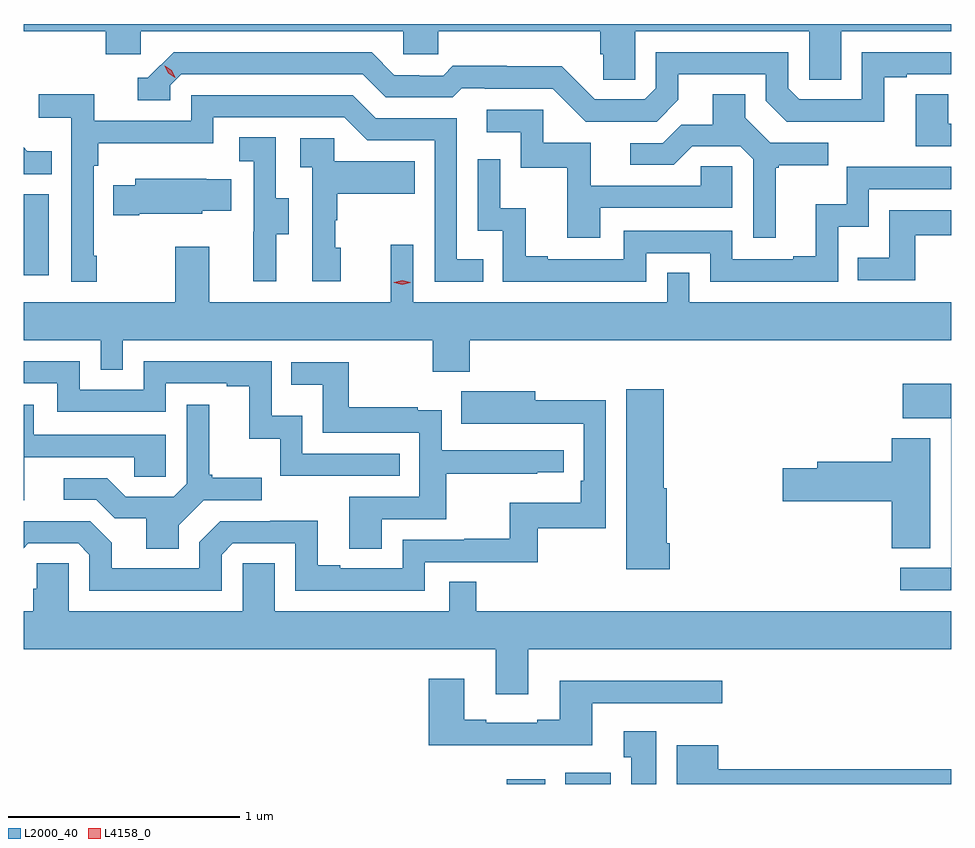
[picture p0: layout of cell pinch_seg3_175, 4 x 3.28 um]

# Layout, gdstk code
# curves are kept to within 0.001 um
import gdstk
lib = gdstk.Library(unit=1e-6, precision=1e-09)
def R(c, l, rs):  # rectangles x0, y0, x1, y1
    for r in rs: c.add(gdstk.rectangle(r[:2], r[2:], *l))
def P(c, l, *ps):  # polygons
    for p in ps: c.add(gdstk.Polygon(p, *l))
L2000_40 = (2000, 40)
L4158_0 = (4158, 0)

pinch_seg3_175 = lib.new_cell('pinch_seg3_175')
R(pinch_seg3_175, L2000_40, [(986.879,745.624,987.046,745.645), (987.131,745.624,987.328,745.672), (984.796,747.816,984.904,748.167)])
P(pinch_seg3_175, L2000_40, [(987.432,748.868),(988.182,748.868),(988.182,748.66),(988.321,748.66),(988.321,748.868),(988.796,748.868),(988.796,748.9),(984.796,748.9),(984.796,748.868),(985.151,748.868),(985.151,748.77),(985.302,748.77),(985.302,748.868),(986.433,748.868),(986.433,748.77),(986.583,748.77),(986.583,748.868),(987.281,748.868),(987.281,748.77),(987.295,748.77),(987.295,748.66),(987.432,748.66)],
  [(988.507,748.671),(988.603,748.671),(988.603,748.683),(988.796,748.683),(988.796,748.779),(988.41,748.779),(988.41,748.575),(988.14,748.575),(988.092,748.623),(988.092,748.779),(987.522,748.779),(987.522,748.623),(987.474,748.575),(987.258,748.575),(987.116,748.717),(986.88,748.717),(986.88,748.72),(986.647,748.72),(986.605,748.677),(986.502,748.677),(986.502,748.68),(986.395,748.68),(986.296,748.779),(985.443,748.779),(985.332,748.668),(985.289,748.668),(985.289,748.572),(985.428,748.572),(985.428,748.635),(985.476,748.683),(986.259,748.683),(986.358,748.584),(986.647,748.584),(986.686,748.623),(986.785,748.623),(986.785,748.62),(987.078,748.62),(987.219,748.479),(987.525,748.479),(987.619,748.573),(987.619,748.683),(987.996,748.683),(987.996,748.569),(988.086,748.479),(988.507,748.478)],
  [(988.796,748.47),(988.783,748.47),(988.783,748.598),(988.643,748.598),(988.643,748.374),(988.796,748.374)],
  [(988.039,748.281),(988.051,748.281),(988.051,748.292),(988.264,748.292),(988.264,748.389),(988.014,748.389),(987.907,748.496),(987.907,748.598),(987.767,748.598),(987.767,748.466),(987.632,748.466),(987.552,748.386),(987.411,748.386),(987.411,748.293),(987.598,748.293),(987.679,748.374),(987.885,748.374),(987.942,748.317),(987.942,747.978),(988.039,747.978)],
  [(985.111,747.901),(985.098,747.901),(985.098,748.289),(985.118,748.289),(985.118,748.385),(985.614,748.385),(985.614,748.497),(986.178,748.497),(986.277,748.398),(986.568,748.398),(986.568,747.789),(986.777,747.789),(986.777,747.885),(986.664,747.885),(986.664,748.494),(986.314,748.494),(986.215,748.593),(985.518,748.593),(985.518,748.482),(985.1,748.482),(985.1,748.598),(984.861,748.598),(984.861,748.496),(985.002,748.496),(985.002,747.789),(985.111,747.789)],
  [(987.283,748.107),(987.852,748.107),(987.852,748.287),(987.715,748.287),(987.715,748.203),(987.241,748.203),(987.241,748.389),(987.036,748.389),(987.036,748.53),(986.793,748.53),(986.793,748.434),(986.94,748.434),(986.94,748.281),(987.139,748.281),(987.139,747.978),(987.283,747.978)],
  [(985.885,747.994),(985.939,747.994),(985.939,748.149),(985.884,748.149),(985.884,748.412),(985.725,748.412),(985.725,748.309),(985.788,748.309),(985.788,748.005),(985.787,748.005),(985.787,747.792),(985.885,747.792)],
  [(986.164,747.936),(986.139,747.936),(986.139,748.055),(986.149,748.055),(986.149,748.169),(986.483,748.169),(986.483,748.309),(986.136,748.309),(986.136,748.407),(985.989,748.407),(985.989,748.283),(986.04,748.283),(986.04,747.792),(986.164,747.792)],
  [(984.917,748.351),(984.813,748.351),(984.796,748.368),(984.796,748.252),(984.917,748.252)],
  [(987.48,747.912),(987.756,747.912),(987.756,747.789),(988.308,747.789),(988.308,748.025),(988.44,748.025),(988.44,748.188),(988.796,748.188),(988.796,748.284),(988.344,748.284),(988.344,748.123),(988.211,748.123),(988.211,747.898),(988.115,747.898),(988.115,747.885),(987.852,747.885),(987.852,748.008),(987.384,748.008),(987.384,747.885),(987.055,747.885),(987.055,747.898),(986.96,747.898),(986.96,748.106),(986.85,748.106),(986.85,748.318),(986.754,748.318),(986.754,748.008),(986.862,748.008),(986.862,747.789),(987.48,747.789)],
  [(985.294,748.082),(985.566,748.082),(985.566,748.094),(985.691,748.094),(985.691,748.231),(985.583,748.231),(985.583,748.234),(985.277,748.234),(985.277,748.204),(985.183,748.204),(985.183,748.075),(985.294,748.075)],
  [(988.639,747.99),(988.796,747.99),(988.796,748.098),(988.528,748.098),(988.528,747.892),(988.393,747.892),(988.393,747.795),(988.639,747.795)],
  [(986.72,747.536),(988.796,747.536),(988.796,747.7),(987.666,747.7),(987.666,747.827),(987.57,747.827),(987.57,747.7),(986.475,747.7),(986.475,747.949),(986.378,747.949),(986.378,747.7),(985.597,747.7),(985.597,747.94),(985.45,747.94),(985.45,747.7),(984.796,747.7),(984.796,747.536),(985.128,747.536),(985.128,747.409),(985.224,747.409),(985.224,747.536),(986.56,747.536),(986.56,747.401),(986.72,747.401)],
  [(986.417,747.048),(985.998,747.048),(985.998,747.211),(985.866,747.211),(985.866,747.447),(985.314,747.447),(985.314,747.324),(985.038,747.324),(985.038,747.447),(984.796,747.447),(984.796,747.351),(984.942,747.351),(984.942,747.228),(985.41,747.228),(985.41,747.351),(985.673,747.351),(985.673,747.339),(985.769,747.339),(985.769,747.113),(985.902,747.113),(985.902,746.952),(986.417,746.952)],
  [(986.341,746.766),(986.618,746.766),(986.618,746.962),(987.011,746.962),(987.011,746.967),(987.124,746.967),(987.124,747.063),(986.598,747.063),(986.598,747.235),(986.495,747.235),(986.495,747.247),(986.197,747.247),(986.197,747.441),(985.951,747.441),(985.951,747.344),(986.086,747.344),(986.086,747.138),(986.502,747.138),(986.502,746.862),(986.201,746.862),(986.201,746.638),(986.341,746.638)],
  [(988.796,747.349),(988.587,747.349),(988.587,747.2),(988.794,747.2),(988.794,746.556),(988.575,746.556),(988.575,746.46),(988.796,746.46)],
  [(987.581,746.662),(987.568,746.662),(987.568,746.898),(987.556,746.898),(987.556,747.325),(987.395,747.325),(987.395,746.55),(987.581,746.55)],
  [(985.65,746.613),(985.698,746.661),(985.968,746.661),(985.968,746.457),(986.526,746.457),(986.526,746.58),(987.013,746.58),(987.013,746.727),(987.306,746.727),(987.306,747.278),(987.001,747.278),(987.001,747.316),(986.683,747.316),(986.683,747.176),(987.21,747.177),(987.21,746.932),(987.197,746.932),(987.197,746.836),(986.892,746.836),(986.892,746.681),(986.695,746.681),(986.695,746.676),(986.43,746.676),(986.43,746.553),(986.161,746.553),(986.161,746.566),(986.065,746.566),(986.065,746.759),(985.86,746.759),(985.86,746.757),(985.644,746.757),(985.554,746.667),(985.554,746.553),(985.177,746.553),(985.177,746.663),(985.083,746.757),(984.796,746.757),(984.796,746.641),(984.816,746.661),(985.032,746.661),(985.08,746.613),(985.08,746.457),(985.65,746.457)],
  [(984.799,747.033),(985.273,747.033),(985.273,746.949),(985.41,746.949),(985.41,747.129),(984.841,747.129),(984.841,747.259),(984.796,747.259),(984.796,746.847),(984.799,746.847)],
  [(985.465,746.74),(985.572,746.847),(985.822,746.847),(985.822,746.944),(985.609,746.944),(985.609,746.956),(985.597,746.956),(985.597,747.259),(985.5,747.259),(985.5,746.919),(985.443,746.862),(985.237,746.862),(985.156,746.943),(984.969,746.943),(984.969,746.85),(985.11,746.85),(985.19,746.77),(985.325,746.77),(985.325,746.638),(985.465,746.638)],
  [(988.705,747.115),(988.538,747.115),(988.538,747.014),(988.217,747.014),(988.217,746.984),(988.068,746.984),(988.068,746.842),(988.538,746.842),(988.538,746.641),(988.705,746.641)],
  [(986.971,746.204),(988.796,746.204),(988.796,746.368),(986.747,746.368),(986.747,746.495),(986.631,746.495),(986.631,746.368),(985.879,746.368),(985.879,746.576),(985.74,746.576),(985.74,746.368),(984.99,746.368),(984.99,746.576),(984.853,746.576),(984.853,746.466),(984.839,746.466),(984.839,746.368),(984.796,746.368),(984.796,746.204),(986.831,746.204),(986.831,746.01),(986.971,746.01)],
  [(987.247,745.971),(987.808,745.971),(987.808,746.068),(987.107,746.068),(987.107,745.9),(987.011,745.9),(987.011,745.887),(986.791,745.887),(986.791,745.9),(986.695,745.9),(986.695,746.077),(986.543,746.077),(986.543,745.79),(987.247,745.79)],
  [(987.523,745.852),(987.383,745.852),(987.383,745.739),(987.416,745.739),(987.416,745.624),(987.523,745.624)],
  [(988.796,745.688),(987.79,745.688),(987.79,745.792),(987.611,745.792),(987.611,745.624),(988.796,745.624)])
P(pinch_seg3_175, L4158_0, [(985.451,748.668),(985.42,748.688),(985.404,748.72),(985.404,748.72),(985.404,748.72),(985.435,748.701),(985.451,748.669),(985.451,748.668)],
  [(986.428,747.776),(986.393,747.785),(986.392,747.786),(986.393,747.786),(986.428,747.796),(986.464,747.786),(986.464,747.786),(986.464,747.785)])

lib.write_gds('pinch_seg3_175.gds')
